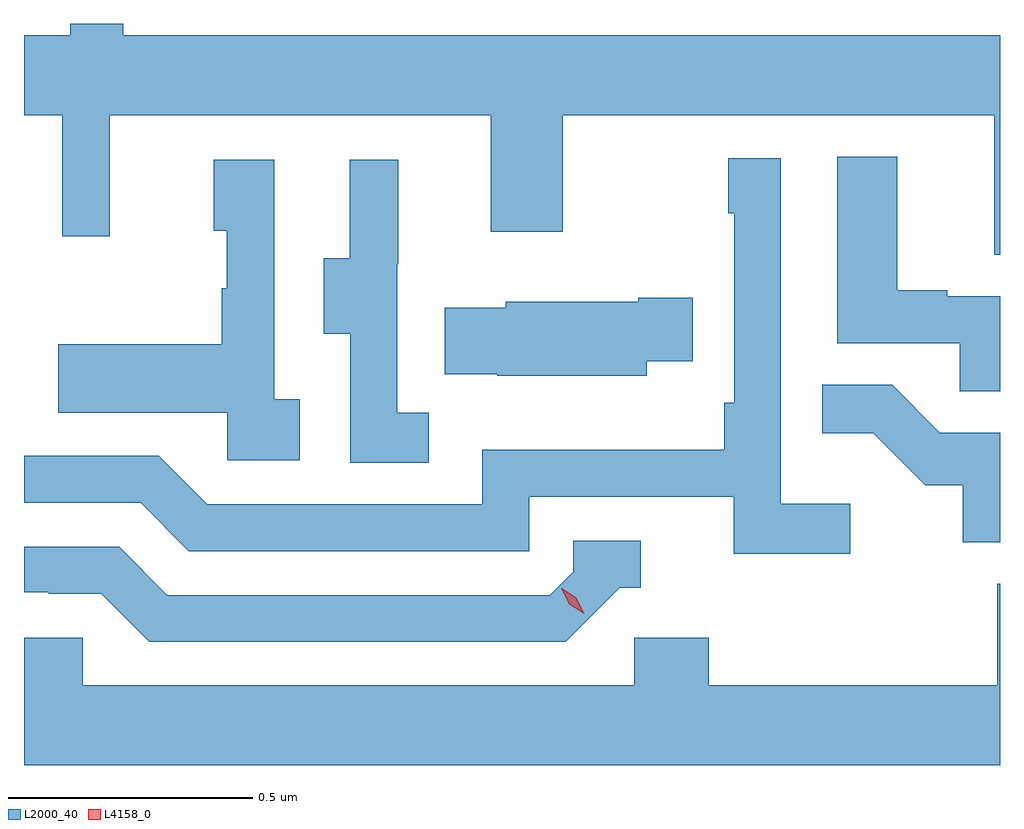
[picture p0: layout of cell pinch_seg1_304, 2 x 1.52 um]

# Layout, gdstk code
import gdstk
lib = gdstk.Library(unit=1e-6, precision=1e-09)
def P(c, l, *ps):  # polygons
    for p in ps: c.add(gdstk.Polygon(p, *l))
L2000_40 = (2000, 40)
L4158_0 = (4158, 0)

pinch_seg1_304 = lib.new_cell('pinch_seg1_304')
P(pinch_seg1_304, L2000_40, [(950.687,545.236),(948.89,545.236),(948.89,545.26),(948.782,545.26),(948.782,545.236),(948.687,545.236),(948.687,545.072),(948.765,545.072),(948.765,544.824),(948.863,544.824),(948.863,545.072),(949.643,545.072),(949.643,544.833),(949.791,544.833),(949.791,545.072),(950.675,545.072),(950.675,544.786),(950.687,544.786)],
  [(950.687,544.701),(950.579,544.701),(950.579,544.714),(950.476,544.714),(950.476,544.987),(950.354,544.987),(950.354,544.605),(950.605,544.605),(950.605,544.507),(950.687,544.507)],
  [(950.38,544.276),(950.238,544.276),(950.238,544.984),(950.13,544.984),(950.13,544.871),(950.142,544.871),(950.142,544.483),(950.122,544.483),(950.122,544.387),(949.626,544.387),(949.626,544.275),(949.062,544.275),(948.963,544.374),(948.687,544.374),(948.687,544.278),(948.926,544.278),(949.025,544.179),(949.722,544.179),(949.722,544.29),(950.141,544.29),(950.141,544.174),(950.38,544.174)],
  [(949.516,544.463),(949.452,544.463),(949.452,544.767),(949.454,544.767),(949.454,544.981),(949.355,544.981),(949.355,544.779),(949.301,544.779),(949.301,544.624),(949.356,544.624),(949.356,544.36),(949.516,544.36)],
  [(949.252,544.49),(949.2,544.49),(949.2,544.981),(949.076,544.981),(949.076,544.836),(949.102,544.836),(949.102,544.718),(949.092,544.718),(949.092,544.603),(948.757,544.603),(948.757,544.463),(949.104,544.463),(949.104,544.365),(949.252,544.365)],
  [(949.963,544.568),(950.057,544.568),(950.057,544.698),(949.946,544.698),(949.946,544.69),(949.674,544.69),(949.674,544.678),(949.549,544.678),(949.549,544.541),(949.657,544.541),(949.657,544.538),(949.963,544.538)],
  [(950.687,544.422),(950.564,544.422),(950.466,544.52),(950.323,544.52),(950.323,544.421),(950.427,544.421),(950.534,544.314),(950.611,544.314),(950.611,544.197),(950.687,544.197)],
  [(949.908,544.104),(949.951,544.104),(949.951,544.2),(949.812,544.2),(949.812,544.137),(949.764,544.089),(948.981,544.089),(948.882,544.188),(948.687,544.188),(948.687,544.095),(948.738,544.095),(948.738,544.092),(948.845,544.092),(948.944,543.993),(949.797,543.993)],
  [(950.687,544.112),(950.681,544.112),(950.681,543.904),(950.09,543.904),(950.09,544.002),(949.938,544.002),(949.938,543.904),(948.807,543.904),(948.807,544.002),(948.687,544.002),(948.687,543.74),(950.687,543.74)])
P(pinch_seg1_304, L4158_0, [(949.835,544.051),(949.804,544.07),(949.788,544.103),(949.788,544.103),(949.789,544.103),(949.819,544.084),(949.835,544.051),(949.835,544.051)])

lib.write_gds('pinch_seg1_304.gds')
